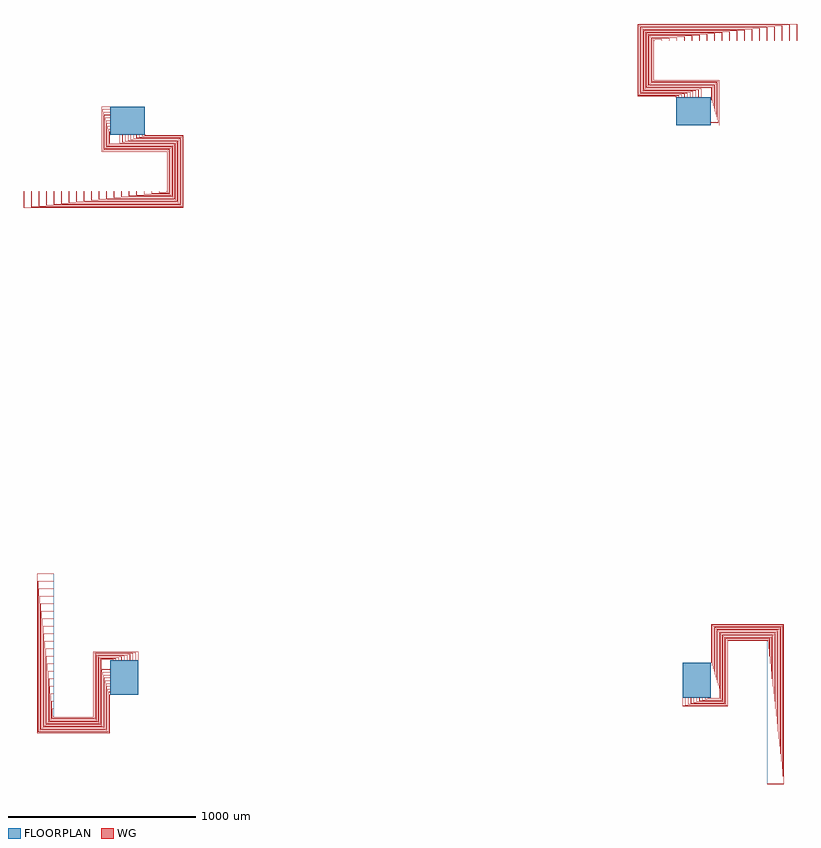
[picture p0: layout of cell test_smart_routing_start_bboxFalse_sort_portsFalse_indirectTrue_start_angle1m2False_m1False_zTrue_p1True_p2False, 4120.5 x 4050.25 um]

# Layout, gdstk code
import gdstk
lib = gdstk.Library(unit=1e-6, precision=1e-09)
def R(c, l, rs):  # rectangles x0, y0, x1, y1
    for r in rs: c.add(gdstk.rectangle(r[:2], r[2:], *l))
def P(c, l, *ps):  # polygons
    for p in ps: c.add(gdstk.Polygon(p, *l))
WG = (1, 0)
FLOORPLAN = (10, 0)

test_smart_routing_start = lib.new_cell('test_smart_routing_start_bboxFalse_sort_portsFalse_indirectTrue_start_angle1m2False_m1False_zTrue_p1True_p2False')
P(test_smart_routing_start, WG, [(3100,2949.75),(3100,2949.95),(3144.8,2949.95),(3144.8,3189.8),(2795.55,3189.8),(2795.55,3404.2),(2799.95,3404.2),(2799.95,3400),(2799.75,3400),(2799.75,3404),(2795.75,3404),(2795.75,3190),(3145,3190),(3145,2949.75)],
  [(3100,2950.05),(3100,2950.25),(3144.5,2950.25),(3144.5,3189.5),(2795.25,3189.5),(2795.25,3404.5),(2800.25,3404.5),(2800.25,3400),(2800.05,3400),(2800.05,3404.3),(2795.45,3404.3),(2795.45,3189.7),(3144.7,3189.7),(3144.7,2950.05)],
  [(3100,2964.75),(3100,2964.95),(3140.3,2964.95),(3140.3,3185.3),(2791.05,3185.3),(2791.05,3408.7),(2839.95,3408.7),(2839.95,3400),(2839.75,3400),(2839.75,3408.5),(2791.25,3408.5),(2791.25,3185.5),(3140.5,3185.5),(3140.5,2964.75)],
  [(3100,2965.05),(3100,2965.25),(3140,2965.25),(3140,3185),(2790.75,3185),(2790.75,3409),(2840.25,3409),(2840.25,3400),(2840.05,3400),(2840.05,3408.8),(2790.95,3408.8),(2790.95,3185.2),(3140.2,3185.2),(3140.2,2965.05)],
  [(3100,2979.75),(3100,2979.95),(3135.8,2979.95),(3135.8,3180.8),(2786.55,3180.8),(2786.55,3413.2),(2879.95,3413.2),(2879.95,3400),(2879.75,3400),(2879.75,3413),(2786.75,3413),(2786.75,3181),(3136,3181),(3136,2979.75)],
  [(3100,2980.05),(3100,2980.25),(3135.5,2980.25),(3135.5,3180.5),(2786.25,3180.5),(2786.25,3413.5),(2880.25,3413.5),(2880.25,3400),(2880.05,3400),(2880.05,3413.3),(2786.45,3413.3),(2786.45,3180.7),(3135.7,3180.7),(3135.7,2980.05)],
  [(3100,2994.75),(3100,2994.95),(3131.3,2994.95),(3131.3,3176.3),(2782.05,3176.3),(2782.05,3417.7),(2919.95,3417.7),(2919.95,3400),(2919.75,3400),(2919.75,3417.5),(2782.25,3417.5),(2782.25,3176.5),(3131.5,3176.5),(3131.5,2994.75)],
  [(3100,2995.05),(3100,2995.25),(3131,2995.25),(3131,3176),(2781.75,3176),(2781.75,3418),(2920.25,3418),(2920.25,3400),(2920.05,3400),(2920.05,3417.8),(2781.95,3417.8),(2781.95,3176.2),(3131.2,3176.2),(3131.2,2995.05)],
  [(3100,3009.75),(3100,3009.95),(3126.8,3009.95),(3126.8,3171.8),(2777.55,3171.8),(2777.55,3422.2),(2959.95,3422.2),(2959.95,3400),(2959.75,3400),(2959.75,3422),(2777.75,3422),(2777.75,3172),(3127,3172),(3127,3009.75)],
  [(3100,3010.05),(3100,3010.25),(3126.5,3010.25),(3126.5,3171.5),(2777.25,3171.5),(2777.25,3422.5),(2960.25,3422.5),(2960.25,3400),(2960.05,3400),(2960.05,3422.3),(2777.45,3422.3),(2777.45,3171.7),(3126.7,3171.7),(3126.7,3010.05)],
  [(3100,3024.75),(3100,3024.95),(3122.3,3024.95),(3122.3,3167.3),(2773.05,3167.3),(2773.05,3426.7),(2999.95,3426.7),(2999.95,3400),(2999.75,3400),(2999.75,3426.5),(2773.25,3426.5),(2773.25,3167.5),(3122.5,3167.5),(3122.5,3024.75)],
  [(3100,3025.05),(3100,3025.25),(3122,3025.25),(3122,3167),(2772.75,3167),(2772.75,3427),(3000.25,3427),(3000.25,3400),(3000.05,3400),(3000.05,3426.8),(2772.95,3426.8),(2772.95,3167.2),(3122.2,3167.2),(3122.2,3025.05)],
  [(3100,3039.75),(3100,3039.95),(3117.8,3039.95),(3117.8,3162.8),(2768.55,3162.8),(2768.55,3431.2),(3039.95,3431.2),(3039.95,3400),(3039.75,3400),(3039.75,3431),(2768.75,3431),(2768.75,3163),(3118,3163),(3118,3039.75)],
  [(3100,3040.05),(3100,3040.25),(3117.5,3040.25),(3117.5,3162.5),(2768.25,3162.5),(2768.25,3431.5),(3040.25,3431.5),(3040.25,3400),(3040.05,3400),(3040.05,3431.3),(2768.45,3431.3),(2768.45,3162.7),(3117.7,3162.7),(3117.7,3040.05)],
  [(3100,3054.75),(3100,3054.95),(3113.3,3054.95),(3113.3,3158.3),(2764.05,3158.3),(2764.05,3435.7),(3079.95,3435.7),(3079.95,3400),(3079.75,3400),(3079.75,3435.5),(2764.25,3435.5),(2764.25,3158.5),(3113.5,3158.5),(3113.5,3054.75)],
  [(3100,3055.05),(3100,3055.25),(3113,3055.25),(3113,3158),(2763.75,3158),(2763.75,3436),(3080.25,3436),(3080.25,3400),(3080.05,3400),(3080.05,3435.8),(2763.95,3435.8),(2763.95,3158.2),(3113.2,3158.2),(3113.2,3055.05)],
  [(3100,3069.75),(3100,3069.95),(3108.8,3069.95),(3108.8,3153.8),(2759.55,3153.8),(2759.55,3440.2),(3119.95,3440.2),(3119.95,3400),(3119.75,3400),(3119.75,3440),(2759.75,3440),(2759.75,3154),(3109,3154),(3109,3069.75)],
  [(3100,3070.05),(3100,3070.25),(3108.5,3070.25),(3108.5,3153.5),(2759.25,3153.5),(2759.25,3440.5),(3120.25,3440.5),(3120.25,3400),(3120.05,3400),(3120.05,3440.3),(2759.45,3440.3),(2759.45,3153.7),(3108.7,3153.7),(3108.7,3070.05)],
  [(3100,3084.75),(3100,3084.95),(3104.3,3084.95),(3104.3,3149.3),(2755.05,3149.3),(2755.05,3444.7),(3159.95,3444.7),(3159.95,3400),(3159.75,3400),(3159.75,3444.5),(2755.25,3444.5),(2755.25,3149.5),(3104.5,3149.5),(3104.5,3084.75)],
  [(3100,3085.05),(3100,3085.25),(3104,3085.25),(3104,3149),(2754.75,3149),(2754.75,3445),(3160.25,3445),(3160.25,3400),(3160.05,3400),(3160.05,3444.8),(2754.95,3444.8),(2754.95,3149.2),(3104.2,3149.2),(3104.2,3085.05)],
  [(3050.05,3100),(3050.05,3144.8),(2750.55,3144.8),(2750.55,3449.2),(3199.95,3449.2),(3199.95,3400),(3199.75,3400),(3199.75,3449),(2750.75,3449),(2750.75,3145),(3050.25,3145),(3050.25,3100)],
  [(3049.75,3100),(3049.75,3144.5),(2750.25,3144.5),(2750.25,3449.5),(3200.25,3449.5),(3200.25,3400),(3200.05,3400),(3200.05,3449.3),(2750.45,3449.3),(2750.45,3144.7),(3049.95,3144.7),(3049.95,3100)],
  [(3035.05,3100),(3035.05,3140.3),(2746.05,3140.3),(2746.05,3453.7),(3239.95,3453.7),(3239.95,3400),(3239.75,3400),(3239.75,3453.5),(2746.25,3453.5),(2746.25,3140.5),(3035.25,3140.5),(3035.25,3100)],
  [(3034.75,3100),(3034.75,3140),(2745.75,3140),(2745.75,3454),(3240.25,3454),(3240.25,3400),(3240.05,3400),(3240.05,3453.8),(2745.95,3453.8),(2745.95,3140.2),(3034.95,3140.2),(3034.95,3100)],
  [(3020.05,3100),(3020.05,3135.8),(2741.55,3135.8),(2741.55,3458.2),(3279.95,3458.2),(3279.95,3400),(3279.75,3400),(3279.75,3458),(2741.75,3458),(2741.75,3136),(3020.25,3136),(3020.25,3100)],
  [(3019.75,3100),(3019.75,3135.5),(2741.25,3135.5),(2741.25,3458.5),(3280.25,3458.5),(3280.25,3400),(3280.05,3400),(3280.05,3458.3),(2741.45,3458.3),(2741.45,3135.7),(3019.95,3135.7),(3019.95,3100)],
  [(3005.05,3100),(3005.05,3131.3),(2737.05,3131.3),(2737.05,3462.7),(3319.95,3462.7),(3319.95,3400),(3319.75,3400),(3319.75,3462.5),(2737.25,3462.5),(2737.25,3131.5),(3005.25,3131.5),(3005.25,3100)],
  [(3004.75,3100),(3004.75,3131),(2736.75,3131),(2736.75,3463),(3320.25,3463),(3320.25,3400),(3320.05,3400),(3320.05,3462.8),(2736.95,3462.8),(2736.95,3131.2),(3004.95,3131.2),(3004.95,3100)],
  [(2990.05,3100),(2990.05,3126.8),(2732.55,3126.8),(2732.55,3467.2),(3359.95,3467.2),(3359.95,3400),(3359.75,3400),(3359.75,3467),(2732.75,3467),(2732.75,3127),(2990.25,3127),(2990.25,3100)],
  [(2989.75,3100),(2989.75,3126.5),(2732.25,3126.5),(2732.25,3467.5),(3360.25,3467.5),(3360.25,3400),(3360.05,3400),(3360.05,3467.3),(2732.45,3467.3),(2732.45,3126.7),(2989.95,3126.7),(2989.95,3100)],
  [(2975.05,3100),(2975.05,3122.3),(2728.05,3122.3),(2728.05,3471.7),(3399.95,3471.7),(3399.95,3400),(3399.75,3400),(3399.75,3471.5),(2728.25,3471.5),(2728.25,3122.5),(2975.25,3122.5),(2975.25,3100)],
  [(2974.75,3100),(2974.75,3122),(2727.75,3122),(2727.75,3472),(3400.25,3472),(3400.25,3400),(3400.05,3400),(3400.05,3471.8),(2727.95,3471.8),(2727.95,3122.2),(2974.95,3122.2),(2974.95,3100)],
  [(2960.05,3100),(2960.05,3117.8),(2723.55,3117.8),(2723.55,3476.2),(3439.95,3476.2),(3439.95,3400),(3439.75,3400),(3439.75,3476),(2723.75,3476),(2723.75,3118),(2960.25,3118),(2960.25,3100)],
  [(2959.75,3100),(2959.75,3117.5),(2723.25,3117.5),(2723.25,3476.5),(3440.25,3476.5),(3440.25,3400),(3440.05,3400),(3440.05,3476.3),(2723.45,3476.3),(2723.45,3117.7),(2959.95,3117.7),(2959.95,3100)],
  [(2945.05,3100),(2945.05,3113.3),(2719.05,3113.3),(2719.05,3480.7),(3479.95,3480.7),(3479.95,3400),(3479.75,3400),(3479.75,3480.5),(2719.25,3480.5),(2719.25,3113.5),(2945.25,3113.5),(2945.25,3100)],
  [(2944.75,3100),(2944.75,3113),(2718.75,3113),(2718.75,3481),(3480.25,3481),(3480.25,3400),(3480.05,3400),(3480.05,3480.8),(2718.95,3480.8),(2718.95,3113.2),(2944.95,3113.2),(2944.95,3100)],
  [(2930.05,3100),(2930.05,3108.8),(2714.55,3108.8),(2714.55,3485.2),(3519.95,3485.2),(3519.95,3400),(3519.75,3400),(3519.75,3485),(2714.75,3485),(2714.75,3109),(2930.25,3109),(2930.25,3100)],
  [(2929.75,3100),(2929.75,3108.5),(2714.25,3108.5),(2714.25,3485.5),(3520.25,3485.5),(3520.25,3400),(3520.05,3400),(3520.05,3485.3),(2714.45,3485.3),(2714.45,3108.7),(2929.95,3108.7),(2929.95,3100)],
  [(2915.05,3100),(2915.05,3104.3),(2710.05,3104.3),(2710.05,3489.7),(3559.95,3489.7),(3559.95,3400),(3559.75,3400),(3559.75,3489.5),(2710.25,3489.5),(2710.25,3104.5),(2915.25,3104.5),(2915.25,3100)],
  [(2914.75,3100),(2914.75,3104),(2709.75,3104),(2709.75,3490),(3560.25,3490),(3560.25,3400),(3560.05,3400),(3560.05,3489.8),(2709.95,3489.8),(2709.95,3104.2),(2914.95,3104.2),(2914.95,3100)],
  [(199.75,2595.5),(199.75,2600),(199.95,2600),(199.95,2595.7),(204.55,2595.7),(204.55,2810.3),(-144.7,2810.3),(-144.7,3049.95),(-100,3049.95),(-100,3049.75),(-144.5,3049.75),(-144.5,2810.5),(204.75,2810.5),(204.75,2595.5)],
  [(200.05,2595.8),(200.05,2600),(200.25,2600),(200.25,2596),(204.25,2596),(204.25,2810),(-145,2810),(-145,3050.25),(-100,3050.25),(-100,3050.05),(-144.8,3050.05),(-144.8,2810.2),(204.45,2810.2),(204.45,2595.8)],
  [(159.75,2591),(159.75,2600),(159.95,2600),(159.95,2591.2),(209.05,2591.2),(209.05,2814.8),(-140.2,2814.8),(-140.2,3034.95),(-100,3034.95),(-100,3034.75),(-140,3034.75),(-140,2815),(209.25,2815),(209.25,2591)],
  [(160.05,2591.3),(160.05,2600),(160.25,2600),(160.25,2591.5),(208.75,2591.5),(208.75,2814.5),(-140.5,2814.5),(-140.5,3035.25),(-100,3035.25),(-100,3035.05),(-140.3,3035.05),(-140.3,2814.7),(208.95,2814.7),(208.95,2591.3)],
  [(119.75,2586.5),(119.75,2600),(119.95,2600),(119.95,2586.7),(213.55,2586.7),(213.55,2819.3),(-135.7,2819.3),(-135.7,3019.95),(-100,3019.95),(-100,3019.75),(-135.5,3019.75),(-135.5,2819.5),(213.75,2819.5),(213.75,2586.5)],
  [(120.05,2586.8),(120.05,2600),(120.25,2600),(120.25,2587),(213.25,2587),(213.25,2819),(-136,2819),(-136,3020.25),(-100,3020.25),(-100,3020.05),(-135.8,3020.05),(-135.8,2819.2),(213.45,2819.2),(213.45,2586.8)],
  [(79.75,2582),(79.75,2600),(79.95,2600),(79.95,2582.2),(218.05,2582.2),(218.05,2823.8),(-131.2,2823.8),(-131.2,3004.95),(-100,3004.95),(-100,3004.75),(-131,3004.75),(-131,2824),(218.25,2824),(218.25,2582)],
  [(80.05,2582.3),(80.05,2600),(80.25,2600),(80.25,2582.5),(217.75,2582.5),(217.75,2823.5),(-131.5,2823.5),(-131.5,3005.25),(-100,3005.25),(-100,3005.05),(-131.3,3005.05),(-131.3,2823.7),(217.95,2823.7),(217.95,2582.3)],
  [(39.75,2577.5),(39.75,2600),(39.95,2600),(39.95,2577.7),(222.55,2577.7),(222.55,2828.3),(-126.7,2828.3),(-126.7,2989.95),(-100,2989.95),(-100,2989.75),(-126.5,2989.75),(-126.5,2828.5),(222.75,2828.5),(222.75,2577.5)],
  [(40.05,2577.8),(40.05,2600),(40.25,2600),(40.25,2578),(222.25,2578),(222.25,2828),(-127,2828),(-127,2990.25),(-100,2990.25),(-100,2990.05),(-126.8,2990.05),(-126.8,2828.2),(222.45,2828.2),(222.45,2577.8)],
  [(-0.25,2573),(-0.25,2600),(-0.05,2600),(-0.05,2573.2),(227.05,2573.2),(227.05,2832.8),(-122.2,2832.8),(-122.2,2974.95),(-100,2974.95),(-100,2974.75),(-122,2974.75),(-122,2833),(227.25,2833),(227.25,2573)],
  [(0.05,2573.3),(0.05,2600),(0.25,2600),(0.25,2573.5),(226.75,2573.5),(226.75,2832.5),(-122.5,2832.5),(-122.5,2975.25),(-100,2975.25),(-100,2975.05),(-122.3,2975.05),(-122.3,2832.7),(226.95,2832.7),(226.95,2573.3)],
  [(-40.25,2568.5),(-40.25,2600),(-40.05,2600),(-40.05,2568.7),(231.55,2568.7),(231.55,2837.3),(-117.7,2837.3),(-117.7,2959.95),(-100,2959.95),(-100,2959.75),(-117.5,2959.75),(-117.5,2837.5),(231.75,2837.5),(231.75,2568.5)],
  [(-39.95,2568.8),(-39.95,2600),(-39.75,2600),(-39.75,2569),(231.25,2569),(231.25,2837),(-118,2837),(-118,2960.25),(-100,2960.25),(-100,2960.05),(-117.8,2960.05),(-117.8,2837.2),(231.45,2837.2),(231.45,2568.8)],
  [(-80.25,2564),(-80.25,2600),(-80.05,2600),(-80.05,2564.2),(236.05,2564.2),(236.05,2841.8),(-113.2,2841.8),(-113.2,2944.95),(-100,2944.95),(-100,2944.75),(-113,2944.75),(-113,2842),(236.25,2842),(236.25,2564)],
  [(-79.95,2564.3),(-79.95,2600),(-79.75,2600),(-79.75,2564.5),(235.75,2564.5),(235.75,2841.5),(-113.5,2841.5),(-113.5,2945.25),(-100,2945.25),(-100,2945.05),(-113.3,2945.05),(-113.3,2841.7),(235.95,2841.7),(235.95,2564.3)],
  [(-120.25,2559.5),(-120.25,2600),(-120.05,2600),(-120.05,2559.7),(240.55,2559.7),(240.55,2846.3),(-108.7,2846.3),(-108.7,2929.95),(-100,2929.95),(-100,2929.75),(-108.5,2929.75),(-108.5,2846.5),(240.75,2846.5),(240.75,2559.5)],
  [(-119.95,2559.8),(-119.95,2600),(-119.75,2600),(-119.75,2560),(240.25,2560),(240.25,2846),(-109,2846),(-109,2930.25),(-100,2930.25),(-100,2930.05),(-108.8,2930.05),(-108.8,2846.2),(240.45,2846.2),(240.45,2559.8)],
  [(-160.25,2555),(-160.25,2600),(-160.05,2600),(-160.05,2555.2),(245.05,2555.2),(245.05,2850.8),(-104.2,2850.8),(-104.2,2914.95),(-100,2914.95),(-100,2914.75),(-104,2914.75),(-104,2851),(245.25,2851),(245.25,2555)],
  [(-159.95,2555.3),(-159.95,2600),(-159.75,2600),(-159.75,2555.5),(244.75,2555.5),(244.75,2850.5),(-104.5,2850.5),(-104.5,2915.25),(-100,2915.25),(-100,2915.05),(-104.3,2915.05),(-104.3,2850.7),(244.95,2850.7),(244.95,2555.3)],
  [(-199.95,2550.8),(-199.95,2600),(-199.75,2600),(-199.75,2551),(249.25,2551),(249.25,2855),(-50.25,2855),(-50.25,2900),(-50.05,2900),(-50.05,2855.2),(249.45,2855.2),(249.45,2550.8)],
  [(-200.25,2550.5),(-200.25,2600),(-200.05,2600),(-200.05,2550.7),(249.55,2550.7),(249.55,2855.3),(-49.95,2855.3),(-49.95,2900),(-49.75,2900),(-49.75,2855.5),(249.75,2855.5),(249.75,2550.5)],
  [(-239.95,2546.3),(-239.95,2600),(-239.75,2600),(-239.75,2546.5),(253.75,2546.5),(253.75,2859.5),(-35.25,2859.5),(-35.25,2900),(-35.05,2900),(-35.05,2859.7),(253.95,2859.7),(253.95,2546.3)],
  [(-240.25,2546),(-240.25,2600),(-240.05,2600),(-240.05,2546.2),(254.05,2546.2),(254.05,2859.8),(-34.95,2859.8),(-34.95,2900),(-34.75,2900),(-34.75,2860),(254.25,2860),(254.25,2546)],
  [(-279.95,2541.8),(-279.95,2600),(-279.75,2600),(-279.75,2542),(258.25,2542),(258.25,2864),(-20.25,2864),(-20.25,2900),(-20.05,2900),(-20.05,2864.2),(258.45,2864.2),(258.45,2541.8)],
  [(-280.25,2541.5),(-280.25,2600),(-280.05,2600),(-280.05,2541.7),(258.55,2541.7),(258.55,2864.3),(-19.95,2864.3),(-19.95,2900),(-19.75,2900),(-19.75,2864.5),(258.75,2864.5),(258.75,2541.5)],
  [(-319.95,2537.3),(-319.95,2600),(-319.75,2600),(-319.75,2537.5),(262.75,2537.5),(262.75,2868.5),(-5.25,2868.5),(-5.25,2900),(-5.05,2900),(-5.05,2868.7),(262.95,2868.7),(262.95,2537.3)],
  [(-320.25,2537),(-320.25,2600),(-320.05,2600),(-320.05,2537.2),(263.05,2537.2),(263.05,2868.8),(-4.95,2868.8),(-4.95,2900),(-4.75,2900),(-4.75,2869),(263.25,2869),(263.25,2537)],
  [(-359.95,2532.8),(-359.95,2600),(-359.75,2600),(-359.75,2533),(267.25,2533),(267.25,2873),(9.75,2873),(9.75,2900),(9.95,2900),(9.95,2873.2),(267.45,2873.2),(267.45,2532.8)],
  [(-360.25,2532.5),(-360.25,2600),(-360.05,2600),(-360.05,2532.7),(267.55,2532.7),(267.55,2873.3),(10.05,2873.3),(10.05,2900),(10.25,2900),(10.25,2873.5),(267.75,2873.5),(267.75,2532.5)],
  [(-399.95,2528.3),(-399.95,2600),(-399.75,2600),(-399.75,2528.5),(271.75,2528.5),(271.75,2877.5),(24.75,2877.5),(24.75,2900),(24.95,2900),(24.95,2877.7),(271.95,2877.7),(271.95,2528.3)],
  [(-400.25,2528),(-400.25,2600),(-400.05,2600),(-400.05,2528.2),(272.05,2528.2),(272.05,2877.8),(25.05,2877.8),(25.05,2900),(25.25,2900),(25.25,2878),(272.25,2878),(272.25,2528)],
  [(-439.95,2523.8),(-439.95,2600),(-439.75,2600),(-439.75,2524),(276.25,2524),(276.25,2882),(39.75,2882),(39.75,2900),(39.95,2900),(39.95,2882.2),(276.45,2882.2),(276.45,2523.8)],
  [(-440.25,2523.5),(-440.25,2600),(-440.05,2600),(-440.05,2523.7),(276.55,2523.7),(276.55,2882.3),(40.05,2882.3),(40.05,2900),(40.25,2900),(40.25,2882.5),(276.75,2882.5),(276.75,2523.5)],
  [(-479.95,2519.3),(-479.95,2600),(-479.75,2600),(-479.75,2519.5),(280.75,2519.5),(280.75,2886.5),(54.75,2886.5),(54.75,2900),(54.95,2900),(54.95,2886.7),(280.95,2886.7),(280.95,2519.3)],
  [(-480.25,2519),(-480.25,2600),(-480.05,2600),(-480.05,2519.2),(281.05,2519.2),(281.05,2886.8),(55.05,2886.8),(55.05,2900),(55.25,2900),(55.25,2887),(281.25,2887),(281.25,2519)],
  [(-519.95,2514.8),(-519.95,2600),(-519.75,2600),(-519.75,2515),(285.25,2515),(285.25,2891),(69.75,2891),(69.75,2900),(69.95,2900),(69.95,2891.2),(285.45,2891.2),(285.45,2514.8)],
  [(-520.25,2514.5),(-520.25,2600),(-520.05,2600),(-520.05,2514.7),(285.55,2514.7),(285.55,2891.3),(70.05,2891.3),(70.05,2900),(70.25,2900),(70.25,2891.5),(285.75,2891.5),(285.75,2514.5)],
  [(-559.95,2510.3),(-559.95,2600),(-559.75,2600),(-559.75,2510.5),(289.75,2510.5),(289.75,2895.5),(84.75,2895.5),(84.75,2900),(84.95,2900),(84.95,2895.7),(289.95,2895.7),(289.95,2510.3)],
  [(-560.25,2510),(-560.25,2600),(-560.05,2600),(-560.05,2510.2),(290.05,2510.2),(290.05,2895.8),(85.05,2895.8),(85.05,2900),(85.25,2900),(85.25,2896),(290.25,2896),(290.25,2510)],
  [(-404.5,-204.75),(-404.5,-199.75),(-400,-199.75),(-400,-199.95),(-404.3,-199.95),(-404.3,-204.55),(-189.7,-204.55),(-189.7,144.7),(49.95,144.7),(49.95,100),(49.75,100),(49.75,144.5),(-189.5,144.5),(-189.5,-204.75)],
  [(-404.2,-204.45),(-404.2,-200.05),(-400,-200.05),(-400,-200.25),(-404,-200.25),(-404,-204.25),(-190,-204.25),(-190,145),(50.25,145),(50.25,100),(50.05,100),(50.05,144.8),(-189.8,144.8),(-189.8,-204.45)],
  [(-409,-209.25),(-409,-159.75),(-400,-159.75),(-400,-159.95),(-408.8,-159.95),(-408.8,-209.05),(-185.2,-209.05),(-185.2,140.2),(34.95,140.2),(34.95,100),(34.75,100),(34.75,140),(-185,140),(-185,-209.25)],
  [(-408.7,-208.95),(-408.7,-160.05),(-400,-160.05),(-400,-160.25),(-408.5,-160.25),(-408.5,-208.75),(-185.5,-208.75),(-185.5,140.5),(35.25,140.5),(35.25,100),(35.05,100),(35.05,140.3),(-185.3,140.3),(-185.3,-208.95)],
  [(-413.5,-213.75),(-413.5,-119.75),(-400,-119.75),(-400,-119.95),(-413.3,-119.95),(-413.3,-213.55),(-180.7,-213.55),(-180.7,135.7),(19.95,135.7),(19.95,100),(19.75,100),(19.75,135.5),(-180.5,135.5),(-180.5,-213.75)],
  [(-413.2,-213.45),(-413.2,-120.05),(-400,-120.05),(-400,-120.25),(-413,-120.25),(-413,-213.25),(-181,-213.25),(-181,136),(20.25,136),(20.25,100),(20.05,100),(20.05,135.8),(-180.8,135.8),(-180.8,-213.45)],
  [(-418,-218.25),(-418,-79.75),(-400,-79.75),(-400,-79.95),(-417.8,-79.95),(-417.8,-218.05),(-176.2,-218.05),(-176.2,131.2),(4.95,131.2),(4.95,100),(4.75,100),(4.75,131),(-176,131),(-176,-218.25)],
  [(-417.7,-217.95),(-417.7,-80.05),(-400,-80.05),(-400,-80.25),(-417.5,-80.25),(-417.5,-217.75),(-176.5,-217.75),(-176.5,131.5),(5.25,131.5),(5.25,100),(5.05,100),(5.05,131.3),(-176.3,131.3),(-176.3,-217.95)],
  [(-422.5,-222.75),(-422.5,-39.75),(-400,-39.75),(-400,-39.95),(-422.3,-39.95),(-422.3,-222.55),(-171.7,-222.55),(-171.7,126.7),(-10.05,126.7),(-10.05,100),(-10.25,100),(-10.25,126.5),(-171.5,126.5),(-171.5,-222.75)],
  [(-422.2,-222.45),(-422.2,-40.05),(-400,-40.05),(-400,-40.25),(-422,-40.25),(-422,-222.25),(-172,-222.25),(-172,127),(-9.75,127),(-9.75,100),(-9.95,100),(-9.95,126.8),(-171.8,126.8),(-171.8,-222.45)],
  [(-427,-227.25),(-427,0.25),(-400,0.25),(-400,0.05),(-426.8,0.05),(-426.8,-227.05),(-167.2,-227.05),(-167.2,122.2),(-25.05,122.2),(-25.05,100),(-25.25,100),(-25.25,122),(-167,122),(-167,-227.25)],
  [(-426.7,-226.95),(-426.7,-0.05),(-400,-0.05),(-400,-0.25),(-426.5,-0.25),(-426.5,-226.75),(-167.5,-226.75),(-167.5,122.5),(-24.75,122.5),(-24.75,100),(-24.95,100),(-24.95,122.3),(-167.3,122.3),(-167.3,-226.95)],
  [(-431.5,-231.75),(-431.5,40.25),(-400,40.25),(-400,40.05),(-431.3,40.05),(-431.3,-231.55),(-162.7,-231.55),(-162.7,117.7),(-40.05,117.7),(-40.05,100),(-40.25,100),(-40.25,117.5),(-162.5,117.5),(-162.5,-231.75)],
  [(-431.2,-231.45),(-431.2,39.95),(-400,39.95),(-400,39.75),(-431,39.75),(-431,-231.25),(-163,-231.25),(-163,118),(-39.75,118),(-39.75,100),(-39.95,100),(-39.95,117.8),(-162.8,117.8),(-162.8,-231.45)],
  [(-436,-236.25),(-436,80.25),(-400,80.25),(-400,80.05),(-435.8,80.05),(-435.8,-236.05),(-158.2,-236.05),(-158.2,113.2),(-55.05,113.2),(-55.05,100),(-55.25,100),(-55.25,113),(-158,113),(-158,-236.25)],
  [(-435.7,-235.95),(-435.7,79.95),(-400,79.95),(-400,79.75),(-435.5,79.75),(-435.5,-235.75),(-158.5,-235.75),(-158.5,113.5),(-54.75,113.5),(-54.75,100),(-54.95,100),(-54.95,113.3),(-158.3,113.3),(-158.3,-235.95)],
  [(-440.2,-240.45),(-440.2,119.95),(-400,119.95),(-400,119.75),(-440,119.75),(-440,-240.25),(-154,-240.25),(-154,109),(-69.75,109),(-69.75,100),(-69.95,100),(-69.95,108.8),(-153.8,108.8),(-153.8,-240.45)],
  [(-440.5,-240.75),(-440.5,120.25),(-400,120.25),(-400,120.05),(-440.3,120.05),(-440.3,-240.55),(-153.7,-240.55),(-153.7,108.7),(-70.05,108.7),(-70.05,100),(-70.25,100),(-70.25,108.5),(-153.5,108.5),(-153.5,-240.75)],
  [(-444.7,-244.95),(-444.7,159.95),(-400,159.95),(-400,159.75),(-444.5,159.75),(-444.5,-244.75),(-149.5,-244.75),(-149.5,104.5),(-84.75,104.5),(-84.75,100),(-84.95,100),(-84.95,104.3),(-149.3,104.3),(-149.3,-244.95)],
  [(-445,-245.25),(-445,160.25),(-400,160.25),(-400,160.05),(-444.8,160.05),(-444.8,-245.05),(-149.2,-245.05),(-149.2,104.2),(-85.05,104.2),(-85.05,100),(-85.25,100),(-85.25,104),(-149,104),(-149,-245.25)],
  [(-449.2,-249.45),(-449.2,199.95),(-400,199.95),(-400,199.75),(-449,199.75),(-449,-249.25),(-145,-249.25),(-145,50.25),(-100,50.25),(-100,50.05),(-144.8,50.05),(-144.8,-249.45)],
  [(-449.5,-249.75),(-449.5,200.25),(-400,200.25),(-400,200.05),(-449.3,200.05),(-449.3,-249.55),(-144.7,-249.55),(-144.7,49.95),(-100,49.95),(-100,49.75),(-144.5,49.75),(-144.5,-249.75)],
  [(-453.7,-253.95),(-453.7,239.95),(-400,239.95),(-400,239.75),(-453.5,239.75),(-453.5,-253.75),(-140.5,-253.75),(-140.5,35.25),(-100,35.25),(-100,35.05),(-140.3,35.05),(-140.3,-253.95)],
  [(-454,-254.25),(-454,240.25),(-400,240.25),(-400,240.05),(-453.8,240.05),(-453.8,-254.05),(-140.2,-254.05),(-140.2,34.95),(-100,34.95),(-100,34.75),(-140,34.75),(-140,-254.25)],
  [(-458.2,-258.45),(-458.2,279.95),(-400,279.95),(-400,279.75),(-458,279.75),(-458,-258.25),(-136,-258.25),(-136,20.25),(-100,20.25),(-100,20.05),(-135.8,20.05),(-135.8,-258.45)],
  [(-458.5,-258.75),(-458.5,280.25),(-400,280.25),(-400,280.05),(-458.3,280.05),(-458.3,-258.55),(-135.7,-258.55),(-135.7,19.95),(-100,19.95),(-100,19.75),(-135.5,19.75),(-135.5,-258.75)],
  [(-462.7,-262.95),(-462.7,319.95),(-400,319.95),(-400,319.75),(-462.5,319.75),(-462.5,-262.75),(-131.5,-262.75),(-131.5,5.25),(-100,5.25),(-100,5.05),(-131.3,5.05),(-131.3,-262.95)],
  [(-463,-263.25),(-463,320.25),(-400,320.25),(-400,320.05),(-462.8,320.05),(-462.8,-263.05),(-131.2,-263.05),(-131.2,4.95),(-100,4.95),(-100,4.75),(-131,4.75),(-131,-263.25)],
  [(-467.2,-267.45),(-467.2,359.95),(-400,359.95),(-400,359.75),(-467,359.75),(-467,-267.25),(-127,-267.25),(-127,-9.75),(-100,-9.75),(-100,-9.95),(-126.8,-9.95),(-126.8,-267.45)],
  [(-467.5,-267.75),(-467.5,360.25),(-400,360.25),(-400,360.05),(-467.3,360.05),(-467.3,-267.55),(-126.7,-267.55),(-126.7,-10.05),(-100,-10.05),(-100,-10.25),(-126.5,-10.25),(-126.5,-267.75)],
  [(-471.7,-271.95),(-471.7,399.95),(-400,399.95),(-400,399.75),(-471.5,399.75),(-471.5,-271.75),(-122.5,-271.75),(-122.5,-24.75),(-100,-24.75),(-100,-24.95),(-122.3,-24.95),(-122.3,-271.95)],
  [(-472,-272.25),(-472,400.25),(-400,400.25),(-400,400.05),(-471.8,400.05),(-471.8,-272.05),(-122.2,-272.05),(-122.2,-25.05),(-100,-25.05),(-100,-25.25),(-122,-25.25),(-122,-272.25)],
  [(-476.2,-276.45),(-476.2,439.95),(-400,439.95),(-400,439.75),(-476,439.75),(-476,-276.25),(-118,-276.25),(-118,-39.75),(-100,-39.75),(-100,-39.95),(-117.8,-39.95),(-117.8,-276.45)],
  [(-476.5,-276.75),(-476.5,440.25),(-400,440.25),(-400,440.05),(-476.3,440.05),(-476.3,-276.55),(-117.7,-276.55),(-117.7,-40.05),(-100,-40.05),(-100,-40.25),(-117.5,-40.25),(-117.5,-276.75)],
  [(-480.7,-280.95),(-480.7,479.95),(-400,479.95),(-400,479.75),(-480.5,479.75),(-480.5,-280.75),(-113.5,-280.75),(-113.5,-54.75),(-100,-54.75),(-100,-54.95),(-113.3,-54.95),(-113.3,-280.95)],
  [(-481,-281.25),(-481,480.25),(-400,480.25),(-400,480.05),(-480.8,480.05),(-480.8,-281.05),(-113.2,-281.05),(-113.2,-55.05),(-100,-55.05),(-100,-55.25),(-113,-55.25),(-113,-281.25)],
  [(-485.2,-285.45),(-485.2,519.95),(-400,519.95),(-400,519.75),(-485,519.75),(-485,-285.25),(-109,-285.25),(-109,-69.75),(-100,-69.75),(-100,-69.95),(-108.8,-69.95),(-108.8,-285.45)],
  [(-485.5,-285.75),(-485.5,520.25),(-400,520.25),(-400,520.05),(-485.3,520.05),(-485.3,-285.55),(-108.7,-285.55),(-108.7,-70.05),(-100,-70.05),(-100,-70.25),(-108.5,-70.25),(-108.5,-285.75)],
  [(-489.7,-289.95),(-489.7,559.95),(-400,559.95),(-400,559.75),(-489.5,559.75),(-489.5,-289.75),(-104.5,-289.75),(-104.5,-84.75),(-100,-84.75),(-100,-84.95),(-104.3,-84.95),(-104.3,-289.95)],
  [(-490,-290.25),(-490,560.25),(-400,560.25),(-400,560.05),(-489.8,560.05),(-489.8,-290.05),(-104.2,-290.05),(-104.2,-85.05),(-100,-85.05),(-100,-85.25),(-104,-85.25),(-104,-290.25)],
  [(2949.75,-145),(2949.75,-100),(2949.95,-100),(2949.95,-144.8),(3189.8,-144.8),(3189.8,204.45),(3404.2,204.45),(3404.2,200.05),(3400,200.05),(3400,200.25),(3404,200.25),(3404,204.25),(3190,204.25),(3190,-145)],
  [(2950.05,-144.7),(2950.05,-100),(2950.25,-100),(2950.25,-144.5),(3189.5,-144.5),(3189.5,204.75),(3404.5,204.75),(3404.5,199.75),(3400,199.75),(3400,199.95),(3404.3,199.95),(3404.3,204.55),(3189.7,204.55),(3189.7,-144.7)],
  [(2964.75,-140.5),(2964.75,-100),(2964.95,-100),(2964.95,-140.3),(3185.3,-140.3),(3185.3,208.95),(3408.7,208.95),(3408.7,160.05),(3400,160.05),(3400,160.25),(3408.5,160.25),(3408.5,208.75),(3185.5,208.75),(3185.5,-140.5)],
  [(2965.05,-140.2),(2965.05,-100),(2965.25,-100),(2965.25,-140),(3185,-140),(3185,209.25),(3409,209.25),(3409,159.75),(3400,159.75),(3400,159.95),(3408.8,159.95),(3408.8,209.05),(3185.2,209.05),(3185.2,-140.2)],
  [(2979.75,-136),(2979.75,-100),(2979.95,-100),(2979.95,-135.8),(3180.8,-135.8),(3180.8,213.45),(3413.2,213.45),(3413.2,120.05),(3400,120.05),(3400,120.25),(3413,120.25),(3413,213.25),(3181,213.25),(3181,-136)],
  [(2980.05,-135.7),(2980.05,-100),(2980.25,-100),(2980.25,-135.5),(3180.5,-135.5),(3180.5,213.75),(3413.5,213.75),(3413.5,119.75),(3400,119.75),(3400,119.95),(3413.3,119.95),(3413.3,213.55),(3180.7,213.55),(3180.7,-135.7)],
  [(2994.75,-131.5),(2994.75,-100),(2994.95,-100),(2994.95,-131.3),(3176.3,-131.3),(3176.3,217.95),(3417.7,217.95),(3417.7,80.05),(3400,80.05),(3400,80.25),(3417.5,80.25),(3417.5,217.75),(3176.5,217.75),(3176.5,-131.5)],
  [(2995.05,-131.2),(2995.05,-100),(2995.25,-100),(2995.25,-131),(3176,-131),(3176,218.25),(3418,218.25),(3418,79.75),(3400,79.75),(3400,79.95),(3417.8,79.95),(3417.8,218.05),(3176.2,218.05),(3176.2,-131.2)],
  [(3009.75,-127),(3009.75,-100),(3009.95,-100),(3009.95,-126.8),(3171.8,-126.8),(3171.8,222.45),(3422.2,222.45),(3422.2,40.05),(3400,40.05),(3400,40.25),(3422,40.25),(3422,222.25),(3172,222.25),(3172,-127)],
  [(3010.05,-126.7),(3010.05,-100),(3010.25,-100),(3010.25,-126.5),(3171.5,-126.5),(3171.5,222.75),(3422.5,222.75),(3422.5,39.75),(3400,39.75),(3400,39.95),(3422.3,39.95),(3422.3,222.55),(3171.7,222.55),(3171.7,-126.7)],
  [(3024.75,-122.5),(3024.75,-100),(3024.95,-100),(3024.95,-122.3),(3167.3,-122.3),(3167.3,226.95),(3426.7,226.95),(3426.7,0.05),(3400,0.05),(3400,0.25),(3426.5,0.25),(3426.5,226.75),(3167.5,226.75),(3167.5,-122.5)],
  [(3025.05,-122.2),(3025.05,-100),(3025.25,-100),(3025.25,-122),(3167,-122),(3167,227.25),(3427,227.25),(3427,-0.25),(3400,-0.25),(3400,-0.05),(3426.8,-0.05),(3426.8,227.05),(3167.2,227.05),(3167.2,-122.2)],
  [(3039.75,-118),(3039.75,-100),(3039.95,-100),(3039.95,-117.8),(3162.8,-117.8),(3162.8,231.45),(3431.2,231.45),(3431.2,-39.95),(3400,-39.95),(3400,-39.75),(3431,-39.75),(3431,231.25),(3163,231.25),(3163,-118)],
  [(3040.05,-117.7),(3040.05,-100),(3040.25,-100),(3040.25,-117.5),(3162.5,-117.5),(3162.5,231.75),(3431.5,231.75),(3431.5,-40.25),(3400,-40.25),(3400,-40.05),(3431.3,-40.05),(3431.3,231.55),(3162.7,231.55),(3162.7,-117.7)],
  [(3054.75,-113.5),(3054.75,-100),(3054.95,-100),(3054.95,-113.3),(3158.3,-113.3),(3158.3,235.95),(3435.7,235.95),(3435.7,-79.95),(3400,-79.95),(3400,-79.75),(3435.5,-79.75),(3435.5,235.75),(3158.5,235.75),(3158.5,-113.5)],
  [(3055.05,-113.2),(3055.05,-100),(3055.25,-100),(3055.25,-113),(3158,-113),(3158,236.25),(3436,236.25),(3436,-80.25),(3400,-80.25),(3400,-80.05),(3435.8,-80.05),(3435.8,236.05),(3158.2,236.05),(3158.2,-113.2)],
  [(3400,-119.95),(3400,-119.75),(3440,-119.75),(3440,240.25),(3154,240.25),(3154,-109),(3069.75,-109),(3069.75,-100),(3069.95,-100),(3069.95,-108.8),(3153.8,-108.8),(3153.8,240.45),(3440.2,240.45),(3440.2,-119.95)],
  [(3400,-120.25),(3400,-120.05),(3440.3,-120.05),(3440.3,240.55),(3153.7,240.55),(3153.7,-108.7),(3070.05,-108.7),(3070.05,-100),(3070.25,-100),(3070.25,-108.5),(3153.5,-108.5),(3153.5,240.75),(3440.5,240.75),(3440.5,-120.25)],
  [(3400,-159.95),(3400,-159.75),(3444.5,-159.75),(3444.5,244.75),(3149.5,244.75),(3149.5,-104.5),(3084.75,-104.5),(3084.75,-100),(3084.95,-100),(3084.95,-104.3),(3149.3,-104.3),(3149.3,244.95),(3444.7,244.95),(3444.7,-159.95)],
  [(3400,-160.25),(3400,-160.05),(3444.8,-160.05),(3444.8,245.05),(3149.2,245.05),(3149.2,-104.2),(3085.05,-104.2),(3085.05,-100),(3085.25,-100),(3085.25,-104),(3149,-104),(3149,245.25),(3445,245.25),(3445,-160.25)],
  [(3400,-199.95),(3400,-199.75),(3449,-199.75),(3449,249.25),(3145,249.25),(3145,-50.25),(3100,-50.25),(3100,-50.05),(3144.8,-50.05),(3144.8,249.45),(3449.2,249.45),(3449.2,-199.95)],
  [(3400,-200.25),(3400,-200.05),(3449.3,-200.05),(3449.3,249.55),(3144.7,249.55),(3144.7,-49.95),(3100,-49.95),(3100,-49.75),(3144.5,-49.75),(3144.5,249.75),(3449.5,249.75),(3449.5,-200.25)],
  [(3400,-239.95),(3400,-239.75),(3453.5,-239.75),(3453.5,253.75),(3140.5,253.75),(3140.5,-35.25),(3100,-35.25),(3100,-35.05),(3140.3,-35.05),(3140.3,253.95),(3453.7,253.95),(3453.7,-239.95)],
  [(3400,-240.25),(3400,-240.05),(3453.8,-240.05),(3453.8,254.05),(3140.2,254.05),(3140.2,-34.95),(3100,-34.95),(3100,-34.75),(3140,-34.75),(3140,254.25),(3454,254.25),(3454,-240.25)],
  [(3400,-279.95),(3400,-279.75),(3458,-279.75),(3458,258.25),(3136,258.25),(3136,-20.25),(3100,-20.25),(3100,-20.05),(3135.8,-20.05),(3135.8,258.45),(3458.2,258.45),(3458.2,-279.95)],
  [(3400,-280.25),(3400,-280.05),(3458.3,-280.05),(3458.3,258.55),(3135.7,258.55),(3135.7,-19.95),(3100,-19.95),(3100,-19.75),(3135.5,-19.75),(3135.5,258.75),(3458.5,258.75),(3458.5,-280.25)],
  [(3400,-319.95),(3400,-319.75),(3462.5,-319.75),(3462.5,262.75),(3131.5,262.75),(3131.5,-5.25),(3100,-5.25),(3100,-5.05),(3131.3,-5.05),(3131.3,262.95),(3462.7,262.95),(3462.7,-319.95)],
  [(3400,-320.25),(3400,-320.05),(3462.8,-320.05),(3462.8,263.05),(3131.2,263.05),(3131.2,-4.95),(3100,-4.95),(3100,-4.75),(3131,-4.75),(3131,263.25),(3463,263.25),(3463,-320.25)],
  [(3400,-359.95),(3400,-359.75),(3467,-359.75),(3467,267.25),(3127,267.25),(3127,9.75),(3100,9.75),(3100,9.95),(3126.8,9.95),(3126.8,267.45),(3467.2,267.45),(3467.2,-359.95)],
  [(3400,-360.25),(3400,-360.05),(3467.3,-360.05),(3467.3,267.55),(3126.7,267.55),(3126.7,10.05),(3100,10.05),(3100,10.25),(3126.5,10.25),(3126.5,267.75),(3467.5,267.75),(3467.5,-360.25)],
  [(3400,-399.95),(3400,-399.75),(3471.5,-399.75),(3471.5,271.75),(3122.5,271.75),(3122.5,24.75),(3100,24.75),(3100,24.95),(3122.3,24.95),(3122.3,271.95),(3471.7,271.95),(3471.7,-399.95)],
  [(3400,-400.25),(3400,-400.05),(3471.8,-400.05),(3471.8,272.05),(3122.2,272.05),(3122.2,25.05),(3100,25.05),(3100,25.25),(3122,25.25),(3122,272.25),(3472,272.25),(3472,-400.25)],
  [(3400,-439.95),(3400,-439.75),(3476,-439.75),(3476,276.25),(3118,276.25),(3118,39.75),(3100,39.75),(3100,39.95),(3117.8,39.95),(3117.8,276.45),(3476.2,276.45),(3476.2,-439.95)],
  [(3400,-440.25),(3400,-440.05),(3476.3,-440.05),(3476.3,276.55),(3117.7,276.55),(3117.7,40.05),(3100,40.05),(3100,40.25),(3117.5,40.25),(3117.5,276.75),(3476.5,276.75),(3476.5,-440.25)],
  [(3400,-479.95),(3400,-479.75),(3480.5,-479.75),(3480.5,280.75),(3113.5,280.75),(3113.5,54.75),(3100,54.75),(3100,54.95),(3113.3,54.95),(3113.3,280.95),(3480.7,280.95),(3480.7,-479.95)],
  [(3400,-480.25),(3400,-480.05),(3480.8,-480.05),(3480.8,281.05),(3113.2,281.05),(3113.2,55.05),(3100,55.05),(3100,55.25),(3113,55.25),(3113,281.25),(3481,281.25),(3481,-480.25)],
  [(3400,-519.95),(3400,-519.75),(3485,-519.75),(3485,285.25),(3109,285.25),(3109,69.75),(3100,69.75),(3100,69.95),(3108.8,69.95),(3108.8,285.45),(3485.2,285.45),(3485.2,-519.95)],
  [(3400,-520.25),(3400,-520.05),(3485.3,-520.05),(3485.3,285.55),(3108.7,285.55),(3108.7,70.05),(3100,70.05),(3100,70.25),(3108.5,70.25),(3108.5,285.75),(3485.5,285.75),(3485.5,-520.25)],
  [(3400,-559.95),(3400,-559.75),(3489.5,-559.75),(3489.5,289.75),(3104.5,289.75),(3104.5,84.75),(3100,84.75),(3100,84.95),(3104.3,84.95),(3104.3,289.95),(3489.7,289.95),(3489.7,-559.95)],
  [(3400,-560.25),(3400,-560.05),(3489.8,-560.05),(3489.8,290.05),(3104.2,290.05),(3104.2,85.05),(3100,85.05),(3100,85.25),(3104,85.25),(3104,290.25),(3490,290.25),(3490,-560.25)])
R(test_smart_routing_start, FLOORPLAN, [(2950,-100,3100,85), (-100,-85,50,100), (-100,2900,85,3050), (2915,2950,3100,3100)])
P(test_smart_routing_start, FLOORPLAN, [(-400,-200),(-400,560),(-400,560),(-400,-200)],
  [(-560,2600),(-560,2600),(200,2600),(200,2600)],
  [(3400,-560),(3400,200),(3400,200),(3400,-560)],
  [(2800,3400),(2800,3400),(3560,3400),(3560,3400)])

lib.write_gds('test_smart_routing_start_bboxFalse_sort_portsFalse_indirectTrue_start_angle1m2False_m1False_zTrue_p1True_p2False.gds')
